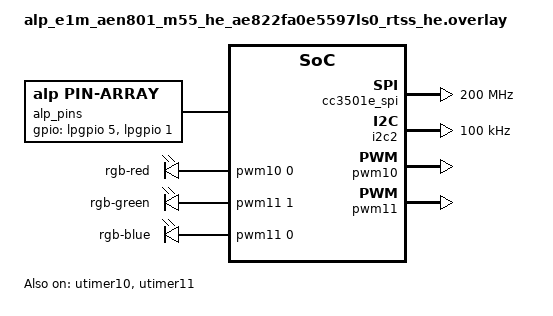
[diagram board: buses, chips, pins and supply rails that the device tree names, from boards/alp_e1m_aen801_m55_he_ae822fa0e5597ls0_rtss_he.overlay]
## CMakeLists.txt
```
# SPDX-License-Identifier: Apache-2.0

cmake_minimum_required(VERSION 3.20)

# SoM facts follow the board being built, not board.yaml's static som.sku
# (#2597): gen_example_alp_conf.py writes generated/<sku>/alp.conf for a twin
# SKU whose fragment differs (e.g. AEN803's populated OSPI memories).
# Two if()s on purpose: CMake expands ${CMAKE_MATCH_1} before it evaluates the
# if(), so in one combined condition EXISTS would test "generated//alp.conf"
# (always there) and every board would be sent to a per-SKU file, written or not.
if(BOARD MATCHES "^alp_e1m_(aen[0-9]+)")
    if(EXISTS "${CMAKE_CURRENT_LIST_DIR}/generated/${CMAKE_MATCH_1}/alp.conf")
        string(REPLACE "generated/alp.conf" "generated/${CMAKE_MATCH_1}/alp.conf"
               EXTRA_CONF_FILE "${EXTRA_CONF_FILE}")
    endif()
endif()

find_package(Zephyr REQUIRED HINTS $ENV{ZEPHYR_BASE})
project(alp_console LANGUAGES C)

target_sources(app PRIVATE src/main.c)

# Reusable SoM bring-up helper (cc3501e_bridge_bringup): the one-call
# CC3501E bridge init.  Copied verbatim from
# examples/aen/aen-cc3501e-bringup/src/ so this example is self-contained.
# When CONFIG_ALP_SDK_CHIP_CC3501E is off (native_sim / V2N) the TU still
# compiles -- it just resolves to the stub cc3501e_bridge_bringup() that
# returns ALP_ERR_NOT_PRESENT_ON_THIS_SOC immediately.
if(CONFIG_ALP_SDK_CHIP_CC3501E)
    target_sources(app PRIVATE src/cc3501e_bridge.c)
endif()
```

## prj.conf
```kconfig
# SPDX-License-Identifier: Apache-2.0
#
# alp-console bench build configuration (both tiers enabled).
#
# CONFIG_ALP_SDK_CONSOLE enables the whole `alp` command tree at link time
# (board / gpio / i2c / adc / pwm / mem / clk / companion / reboot).
# CONFIG_ALP_SDK_CONSOLE_UNSAFE unlocks the write-capable verbs
# (mem wr, gpio write, companion gpio write) -- leave this off in field builds.
# CONFIG_ALP_SDK_HW_INFO + CONFIG_HWINFO are needed by `alp board` to read
# the SoM EEPROM identity at the shell prompt.
# CONFIG_REBOOT is required by `alp reboot`.
#
# Board-derived CONFIG_* (SPI / GPIO / ADC etc.) come from board.yaml via
# `tan build` -> generated/alp.conf layered in via EXTRA_CONF_FILE.
CONFIG_ALP_SDK=y
CONFIG_ALP_SDK_CONSOLE=y
CONFIG_ALP_SDK_CONSOLE_UNSAFE=y
CONFIG_ALP_SDK_HW_INFO=y
CONFIG_SHELL=y
CONFIG_REBOOT=y
CONFIG_HWINFO=y

# Generous main-thread stack for the shell and companion reset sequence.
CONFIG_MAIN_STACK_SIZE=4096
```

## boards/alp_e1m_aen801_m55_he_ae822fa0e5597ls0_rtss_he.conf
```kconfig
# E1M-AEN801 EVK bench/ship build: slot0 MRAM boot.
# The SES boots a resident slot0 image at MRAM base 0x80000000 + 0x10000; the
# app must be slot0-linked (reset vector 0x8001xxxx) for the two-blob flash
# (app -> 0x80010000 + signed ATOC).  Matches the proven aen-rgb-led-fade /
# aen-cc3501e-gpio flash config on this bench.  AEN-only (per-board conf);
# V2N / native_sim builds are unaffected.
CONFIG_FLASH_LOAD_OFFSET=0x10000

# RGB "board alive" status LED: the demo drives the on-module RGB LED via the
# Alif UTIMER PWM (pwm10/pwm11 in the overlay) from a low-priority background
# thread, so the console stays fully responsive.  AEN-only (native_sim has no
# PWM nodes -- the RGB code device-tree-guards itself out there).
CONFIG_PWM=y

# Wire `alp board`'s live SoM identity read to the on-module 24C128 EEPROM:
# portable bus 0 = SoC I2C2 (enabled in the overlay), 7-bit addr 0x50 (default).
# On an EEPROM-provisioned unit the banner shows the live SKU + hw_rev; on a
# blank/unprovisioned unit the read NACKs/!magic and the banner gracefully
# falls back to the compiled board name (best-effort, no hang).
CONFIG_ALP_SDK_HW_INFO_EEPROM_I2C_BUS_ID=0
```

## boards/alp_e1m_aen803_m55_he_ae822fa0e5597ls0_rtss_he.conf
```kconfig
# E1M-AEN803 EVK bench/ship build: slot0 MRAM boot (#2094).
# Same PCB and silicon (AE822FA0E5597LS0) as E1M-AEN801 -- the SKUs only
# differ in their external OSPI0 memory population (E1M-AEN803 fits both
# HyperRAM and NOR, see metadata/e1m_modules/E1M-AEN803.yaml), which none
# of these settings touch, so the E1M-AEN801 .conf carries over unchanged.
# The SES boots a resident slot0 image at MRAM base 0x80000000 + 0x10000; the
# app must be slot0-linked (reset vector 0x8001xxxx) for the two-blob flash
# (app -> 0x80010000 + signed ATOC).  Matches the proven aen-rgb-led-fade /
# aen-cc3501e-gpio flash config on this bench.  AEN-only (per-board conf);
# V2N / native_sim builds are unaffected.
CONFIG_FLASH_LOAD_OFFSET=0x10000

# RGB "board alive" status LED: the demo drives the on-module RGB LED via the
# Alif UTIMER PWM (pwm10/pwm11 in the overlay) from a low-priority background
# thread, so the console stays fully responsive.  AEN-only (native_sim has no
# PWM nodes -- the RGB code device-tree-guards itself out there).
CONFIG_PWM=y

# Wire `alp board`'s live SoM identity read to the on-module 24C128 EEPROM:
# portable bus 0 = SoC I2C2 (enabled in the overlay), 7-bit addr 0x50 (default).
# On an EEPROM-provisioned unit the banner shows the live SKU + hw_rev; on a
# blank/unprovisioned unit the read NACKs/!magic and the banner gracefully
# falls back to the compiled board name (best-effort, no hang).
CONFIG_ALP_SDK_HW_INFO_EEPROM_I2C_BUS_ID=0
```

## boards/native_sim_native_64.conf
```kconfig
# SPDX-License-Identifier: Apache-2.0
#
# native_sim console overlay: read-only shell build.
# No real hardware -- the CC3501E companion and the reboot command are off.
# Auto-loaded by Zephyr when building for native_sim/native/64.

# Read-only console (no hardware to write on the host).
CONFIG_ALP_SDK_CONSOLE=y
CONFIG_ALP_SDK_CONSOLE_UNSAFE=n

# No real REBOOT on native_sim.
CONFIG_REBOOT=n

# Emulated peripheral drivers so the `alp gpio` and `alp i2c` commands
# enumerate at least one bus (build-time proof, no silicon needed).
CONFIG_EMUL=y
CONFIG_GPIO_EMUL=y
CONFIG_I2C_EMUL=y

# HWINFO not meaningful on the host; disable to avoid the build error.
CONFIG_HWINFO=n
CONFIG_ALP_SDK_HW_INFO=n
```

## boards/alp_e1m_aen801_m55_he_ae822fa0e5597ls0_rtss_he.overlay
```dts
/*
 * Copyright (c) 2026 Alp Lab AB
 * SPDX-License-Identifier: Apache-2.0
 *
 * E1M-AEN801 EVK overlay for alp-console.  Two jobs:
 *
 * 1. CC3501E inter-chip bridge wiring (so `alp companion ver/ping` reaches the
 *    on-module CC3501E) -- the SoM-internal Alif<->CC3501E SPI1 link + the two
 *    host-driven control nets, from metadata/e1m_modules/aen/inter-chip.tsv.
 *    This is the SAME proven wiring as examples/aen/aen-cc3501e-bringup; the
 *    console copies cc3501e_bridge.{c,h} from there, so it needs the matching
 *    overlay too (cc3501e_bridge_bringup opens bus_id 1 = &cc3501e_spi):
 *      SPI1.SCK P14_6  MOSI P14_5  MISO P14_4   WIFI_EN P15_5  NRST P15_1_FLEX
 *
 * 2. Master I2C bus (so `alp i2c scan 0` has a live bus): portable bus 0 ->
 *    SoC I2C2 (i2c_dw master, P5_6 SCL_C / P5_7 SDA_C), the on-module 24C128
 *    EEPROM (0x50) + EVK sensor bank.  Pad config bench-validated in
 *    aen-eeprom-manifest (input-enable for ACK-detect; bias-pull-down = the
 *    pad DSC value Alif's reference uses -- do NOT "correct" to pull-up).
 */
#include <zephyr/dt-bindings/pinctrl/alif-ensemble-pinctrl.h>
#include <zephyr/dt-bindings/i2c/i2c.h>
#include <zephyr/dt-bindings/gpio/gpio.h>
#include <zephyr/dt-bindings/pwm/pwm.h>

&pinctrl {
	/* SPI1 master (CC3501E bridge): SCK P14_6 / MOSI P14_5 / MISO P14_4 (alt-2, _C). */
	pinctrl_spi1: pinctrl_spi1 {
		group0 {
			/* SS0 (P14_7) is now peripheral-driven -- the dwc-ssi hardware chip-select,
			 * NOT the old GPIO bodge.  Push-pull output pad like SCLK/MOSI (no input-enable);
			 * the master asserts/deasserts SS0 per transfer (write_ser). */
			pinmux = <PIN_P14_6__SPI1_SCLK_C>, <PIN_P14_5__SPI1_MOSI_C>,
				 <PIN_P14_7__SPI1_SS0_C>;
		};
		group1 {
			pinmux = <PIN_P14_4__SPI1_MISO_C>;
			input-enable;
		};
	};

	/* I2C2 master: SCL P5_6 / SDA P5_7 (_C). */
	pinctrl_i2c2: pinctrl_i2c2 {
		group0 {
			pinmux = <PIN_P5_6__I2C2_SCL_C>, <PIN_P5_7__I2C2_SDA_C>;
			input-enable;
			bias-pull-down;
		};
	};

	/* RGB-LED PWM outputs (from aen-rgb-led-fade): P2_4 = UT10_T0_A
	 * (physically GREEN, bench-measured 2026-07-28 -- the `led_r`/RED
	 * label below is misnamed, see the rgb_leds node + src/main.c);
	 * P12_7 = UT11_T1_C (physically RED); P12_6 = UT11_T0_C (BLUE,
	 * correct).  Output pads -- no input-enable/bias.  Distinct from
	 * the SPI1/I2C2 pads above (no conflict). */
	pinctrl_pwm10: pinctrl_pwm10 {
		group0 {
			pinmux = <PIN_P2_4__UT10_T0_A>; /* physically GREEN */
		};
	};
	pinctrl_pwm11: pinctrl_pwm11 {
		group0 {
			pinmux = <PIN_P12_7__UT11_T1_C>, /* physically RED */
				 <PIN_P12_6__UT11_T0_C>; /* BLUE (correct) */
		};
	};
};

/* P14_7 (CS) is now muxed as SPI1_SS0_C in pinctrl_spi1 -- the dwc-ssi peripheral drives
 * it in hardware per transfer.  The old gpio14 GPIO-bodge controller node is removed: a
 * GPIO claim of P14_7 would fight the SS0 pinctrl mux. */

&clockctrl {
	status = "okay";
};

&soc {
	/* DWC_ssi SPI1 -- the on-SoM CC3501E inter-chip link (NOT the edge SPI0).
	 * 4-wire: SCLK/MOSI/MISO + the hardware SS0 chip-select (P14_7 = SPI1_SS0_C,
	 * declared in pinctrl_spi1 above); clock-frequency = 200 MHz, the real SSI
	 * functional clock (E8 HWRM), so spi_dw_alif skips the failing
	 * clock-control path. */
	cc3501e_spi: spi@48104000 {
		compatible = "alif,dwc-ssi-spi";
		#address-cells = <1>;
		#size-cells = <0>;
		reg = <0x48104000 0x1000>;
		interrupts = <138 3>;          /* BENCH-TBD: SPI1 IRQ */
		clocks = <&clockctrl ALIF_SPI_CLK>;
		/* Real SSI functional clock (E8 HWRM).  Was mis-set to 400000000 here,
		 * which is not a cosmetic error: spi_dw derives BAUDR =
		 * clock-frequency / freq_hz, so a doubled input clock doubles the
		 * divider and HALVES the real SCLK -- this node was running at
		 * 500 kHz while asking for 1 MHz.  Proven via BAUDR scaling and
		 * already corrected in the aen-cc3501e-* overlays. */
		clock-frequency = <200000000>;
		dwc-ssi;
		fifo-depth = <16>;
		/* `rx-delay` IS a real devicetree property
		 * (zephyr/dts/bindings/spi/alif,dwc-ssi-spi.yaml, int, default 0),
		 * left unset here so it resolves to 0. This app's own
		 * src/cc3501e_bridge.c writes no RX_SAMPLE_DLY poke at all -- unlike
		 * the aen-cc3501e-* overlays, which run the link faster and need one
		 * (see their own rx-delay comment) -- because this console runs the
		 * bridge at CC3501E_BRIDGE_SPI_FREQ_HZ = 1 MHz
		 * (cc3501e_bridge.h), the bench-validated rate at which the default
		 * 0-cycle RX sample point already works. */
		pinctrl-0 = <&pinctrl_spi1>;
		pinctrl-names = "default";
		status = "okay";
	};
};

/* LP GPIO island: WIFI_EN (P15_5) + E_WIFI.NRST (P15_1_FLEX) as outputs. */
&lpgpio {
	status = "okay";
};

&i2c2 {
	status = "okay";
	pinctrl-0 = <&pinctrl_i2c2>;
	pinctrl-names = "default";
	clock-frequency = <I2C_BITRATE_STANDARD>;   /* 100 kHz */
};

/ {
	aliases {
		alp-spi1 = &cc3501e_spi;   /* bus_id 1 in cc3501e_bridge_bringup() */
		alp-i2c0 = &i2c2;          /* bus 0 for `alp i2c scan 0` */
	};

	/* SoM-internal CC3501E control nets, in CC3501E_PIN_* index order. */
	alp_pins: alp-pins {
		compatible = "alp,pin-array";
		gpios = <&lpgpio 5 GPIO_ACTIVE_HIGH>,   /* [0] WIFI_EN     (P15_5)      */
			<&lpgpio 1 GPIO_ACTIVE_HIGH>;   /* [1] E_WIFI.NRST (P15_1_FLEX) */
	};


	/* RGB "board alive" status LED.  Each pwm-leds child's `pwms` phandle is
	 * what PWM_DT_SPEC_GET dereferences to reach the pwm10/pwm11 controller +
	 * channel (never DEVICE_DT_GET on the controller node -- avoids the
	 * "alif,pwm" #pwm-cells codegen phantom; see aen-rgb-led-fade).
	 *
	 * NODE LABELS ARE MISNAMED relative to physical colour (bench-measured
	 * 2026-07-28): `led_red` drives P2_4/PWM3, which is physically GREEN;
	 * `led_green` drives P12_7/PWM0, which is physically RED.  Left as-is --
	 * src/main.c's rgb_status_thread drives all three in a continuous
	 * phase-shifted rainbow with no per-colour meaning, so the swap is
	 * invisible; see the NOTE in src/main.c before renaming these. */
	rgb_leds: pwm-leds {
		compatible = "pwm-leds";

		led_red: led_r {
			label = "rgb-red";
			pwms  = <&pwm10 0 PWM_USEC(100) PWM_POLARITY_NORMAL>;
		};
		led_green: led_g {
			label = "rgb-green";
			pwms  = <&pwm11 1 PWM_USEC(100) PWM_POLARITY_NORMAL>;
		};
		led_blue: led_b {
			label = "rgb-blue";
			pwms  = <&pwm11 0 PWM_USEC(100) PWM_POLARITY_NORMAL>;
		};
	};
};

&utimer10 {
	status = "okay";
	pwm10 {
		status = "okay";
		pinctrl-0 = <&pinctrl_pwm10>;
		pinctrl-names = "default";
	};
};

&utimer11 {
	status = "okay";
	pwm11 {
		status = "okay";
		pinctrl-0 = <&pinctrl_pwm11>;
		pinctrl-names = "default";
	};
};
```

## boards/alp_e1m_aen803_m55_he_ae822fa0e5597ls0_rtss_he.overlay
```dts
/*
 * Copyright (c) 2026 Alp Lab AB
 * SPDX-License-Identifier: Apache-2.0
 *
 * E1M-AEN803 EVK overlay for alp-console (#2235).  E1M-AEN803 is the
 * same PCB and silicon (AE822FA0E5597LS0) as E1M-AEN801 -- the SKUs
 * only differ in their external OSPI0 memory population (E1M-AEN803
 * fits both HyperRAM and NOR, see metadata/e1m_modules/E1M-AEN803.yaml).
 * None of this demo's pads sit on that OSPI0 bus (P2_0, P2_1, P6_2..
 * P6_6, P0_7, P12_0..P12_4, P15_2, P15_3, P15_6, P15_7): the CC3501E
 * bridge uses P14_4/P14_5/P14_6/P14_7 (SPI1) plus P15_5/P15_1 (lpgpio
 * WIFI_EN/NRST), the master I2C bus uses P5_6/P5_7, and the RGB status
 * LED uses P2_4/P12_7/P12_6 -- so the E1M-AEN801 body below carries
 * over unchanged. Two jobs, same as the E1M-AEN801 overlay:
 *
 * 1. CC3501E inter-chip bridge wiring (so `alp companion ver/ping` reaches the
 *    on-module CC3501E) -- the SoM-internal Alif<->CC3501E SPI1 link + the two
 *    host-driven control nets, from metadata/e1m_modules/aen/inter-chip.tsv.
 *    This is the SAME proven wiring as examples/aen/aen-cc3501e-bringup; the
 *    console copies cc3501e_bridge.{c,h} from there, so it needs the matching
 *    overlay too (cc3501e_bridge_bringup opens bus_id 1 = &cc3501e_spi):
 *      SPI1.SCK P14_6  MOSI P14_5  MISO P14_4   WIFI_EN P15_5  NRST P15_1_FLEX
 *
 * 2. Master I2C bus (so `alp i2c scan 0` has a live bus): portable bus 0 ->
 *    SoC I2C2 (i2c_dw master, P5_6 SCL_C / P5_7 SDA_C), the on-module 24C128
 *    EEPROM (0x50) + EVK sensor bank.  Pad config bench-validated in
 *    aen-eeprom-manifest (input-enable for ACK-detect; bias-pull-down = the
 *    pad DSC value Alif's reference uses -- do NOT "correct" to pull-up).
 *
 * See the E1M-AEN801 overlay in this same directory for anything not
 * restated above.
 */
#include <zephyr/dt-bindings/pinctrl/alif-ensemble-pinctrl.h>
#include <zephyr/dt-bindings/i2c/i2c.h>
#include <zephyr/dt-bindings/gpio/gpio.h>
#include <zephyr/dt-bindings/pwm/pwm.h>

&pinctrl {
	/* SPI1 master (CC3501E bridge): SCK P14_6 / MOSI P14_5 / MISO P14_4 (alt-2, _C). */
	pinctrl_spi1: pinctrl_spi1 {
		group0 {
			/* SS0 (P14_7) is now peripheral-driven -- the dwc-ssi hardware chip-select,
			 * NOT the old GPIO bodge.  Push-pull output pad like SCLK/MOSI (no input-enable);
			 * the master asserts/deasserts SS0 per transfer (write_ser). */
			pinmux = <PIN_P14_6__SPI1_SCLK_C>, <PIN_P14_5__SPI1_MOSI_C>,
				 <PIN_P14_7__SPI1_SS0_C>;
		};
		group1 {
			pinmux = <PIN_P14_4__SPI1_MISO_C>;
			input-enable;
		};
	};

	/* I2C2 master: SCL P5_6 / SDA P5_7 (_C). */
	pinctrl_i2c2: pinctrl_i2c2 {
		group0 {
			pinmux = <PIN_P5_6__I2C2_SCL_C>, <PIN_P5_7__I2C2_SDA_C>;
			input-enable;
			bias-pull-down;
		};
	};

	/* RGB-LED PWM outputs (from aen-rgb-led-fade): P2_4 = UT10_T0_A
	 * (physically GREEN, bench-measured 2026-07-28 -- the `led_r`/RED
	 * label below is misnamed, see the rgb_leds node + src/main.c);
	 * P12_7 = UT11_T1_C (physically RED); P12_6 = UT11_T0_C (BLUE,
	 * correct).  Output pads -- no input-enable/bias.  Distinct from
	 * the SPI1/I2C2 pads above (no conflict). */
	pinctrl_pwm10: pinctrl_pwm10 {
		group0 {
			pinmux = <PIN_P2_4__UT10_T0_A>; /* physically GREEN */
		};
	};
	pinctrl_pwm11: pinctrl_pwm11 {
		group0 {
			pinmux = <PIN_P12_7__UT11_T1_C>, /* physically RED */
				 <PIN_P12_6__UT11_T0_C>; /* BLUE (correct) */
		};
	};
};

/* P14_7 (CS) is now muxed as SPI1_SS0_C in pinctrl_spi1 -- the dwc-ssi peripheral drives
 * it in hardware per transfer.  The old gpio14 GPIO-bodge controller node is removed: a
 * GPIO claim of P14_7 would fight the SS0 pinctrl mux. */

&clockctrl {
	status = "okay";
};

&soc {
	/* DWC_ssi SPI1 -- the on-SoM CC3501E inter-chip link (NOT the edge SPI0).
	 * 4-wire: SCLK/MOSI/MISO + the hardware SS0 chip-select (P14_7 = SPI1_SS0_C,
	 * declared in pinctrl_spi1 above); clock-frequency = SYST_HCLK (400 MHz) so
	 * spi_dw_alif skips the failing clock-control path. */
	cc3501e_spi: spi@48104000 {
		compatible = "alif,dwc-ssi-spi";
		#address-cells = <1>;
		#size-cells = <0>;
		reg = <0x48104000 0x1000>;
		interrupts = <138 3>;          /* BENCH-TBD: SPI1 IRQ */
		clocks = <&clockctrl ALIF_SPI_CLK>;
		/* Real SSI functional clock (E8 HWRM).  Was mis-set to 400000000 here,
		 * which is not a cosmetic error: spi_dw derives BAUDR =
		 * clock-frequency / freq_hz, so a doubled input clock doubles the
		 * divider and HALVES the real SCLK -- this node was running at
		 * 500 kHz while asking for 1 MHz.  Proven via BAUDR scaling and
		 * already corrected in the aen-cc3501e-* overlays. */
		clock-frequency = <200000000>;
		dwc-ssi;
		fifo-depth = <16>;
		/* NOTE: there is NO `rx-delay` devicetree property -- the spi_dw binding
		 * does not define one, so writing it here would silently do nothing.  The
		 * DWC_ssi RX sample delay (RX_SAMPLE_DLY, reg 0xF0, in ssi_clk cycles at
		 * 200 MHz = 5 ns/cycle) recenters the master's MISO capture at higher SCLK
		 * and is written from C -- see CC3501E_BRIDGE_RX_SAMPLE_DLY in
		 * examples/aen/aen-cc3501e-bringup/src/cc3501e_bridge.c, where 6 is
		 * silicon-tuned for ~14.3 MHz. */
		pinctrl-0 = <&pinctrl_spi1>;
		pinctrl-names = "default";
		status = "okay";
	};
};

/* LP GPIO island: WIFI_EN (P15_5) + E_WIFI.NRST (P15_1_FLEX) as outputs. */
&lpgpio {
	status = "okay";
};

&i2c2 {
	status = "okay";
	pinctrl-0 = <&pinctrl_i2c2>;
	pinctrl-names = "default";
	clock-frequency = <I2C_BITRATE_STANDARD>;   /* 100 kHz */
};

/ {
	aliases {
		alp-spi1 = &cc3501e_spi;   /* bus_id 1 in cc3501e_bridge_bringup() */
		alp-i2c0 = &i2c2;          /* bus 0 for `alp i2c scan 0` */
	};

	/* SoM-internal CC3501E control nets, in CC3501E_PIN_* index order. */
	alp_pins: alp-pins {
		compatible = "alp,pin-array";
		gpios = <&lpgpio 5 GPIO_ACTIVE_HIGH>,   /* [0] WIFI_EN     (P15_5)      */
			<&lpgpio 1 GPIO_ACTIVE_HIGH>;   /* [1] E_WIFI.NRST (P15_1_FLEX) */
	};


	/* RGB "board alive" status LED.  Each pwm-leds child's `pwms` phandle is
	 * what PWM_DT_SPEC_GET dereferences to reach the pwm10/pwm11 controller +
	 * channel (never DEVICE_DT_GET on the controller node -- avoids the
	 * "alif,pwm" #pwm-cells codegen phantom; see aen-rgb-led-fade).
	 *
	 * NODE LABELS ARE MISNAMED relative to physical colour (bench-measured
	 * 2026-07-28): `led_red` drives P2_4/PWM3, which is physically GREEN;
	 * `led_green` drives P12_7/PWM0, which is physically RED.  Left as-is --
	 * src/main.c's rgb_status_thread drives all three in a continuous
	 * phase-shifted rainbow with no per-colour meaning, so the swap is
	 * invisible; see the NOTE in src/main.c before renaming these. */
	rgb_leds: pwm-leds {
		compatible = "pwm-leds";

		led_red: led_r {
			label = "rgb-red";
			pwms  = <&pwm10 0 PWM_USEC(100) PWM_POLARITY_NORMAL>;
		};
		led_green: led_g {
			label = "rgb-green";
			pwms  = <&pwm11 1 PWM_USEC(100) PWM_POLARITY_NORMAL>;
		};
		led_blue: led_b {
			label = "rgb-blue";
			pwms  = <&pwm11 0 PWM_USEC(100) PWM_POLARITY_NORMAL>;
		};
	};
};

&utimer10 {
	status = "okay";
	pwm10 {
		status = "okay";
		pinctrl-0 = <&pinctrl_pwm10>;
		pinctrl-names = "default";
	};
};

&utimer11 {
	status = "okay";
	pwm11 {
		status = "okay";
		pinctrl-0 = <&pinctrl_pwm11>;
		pinctrl-names = "default";
	};
};
```

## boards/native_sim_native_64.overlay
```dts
/*
 * Copyright 2026 Alp Lab AB
 * SPDX-License-Identifier: Apache-2.0
 *
 * native_sim stand-ins for alp-console: the shell UART alias and a
 * minimal GPIO emulator so the `alp gpio` command enumerates something.
 * No CC3501E (companion guard in main.c compiles out CONFIG_ALP_SDK_CHIP_CC3501E).
 */

#include <zephyr/dt-bindings/gpio/gpio.h>

/ {
	aliases {
		/* Shell UART: maps to the native_sim UART emulator. */
		alp-uart0 = &uart0;
	};

	gpio_emul0: gpio_emul0 {
		compatible = "zephyr,gpio-emul";
		status = "okay";
		gpio-controller;
		rising-edge;
		falling-edge;
		#gpio-cells = <2>;
		ngpios = <8>;
	};

	/* Minimal alp,pin-array so the GPIO back-end initialises (no real pins). */
	alp_pins: alp-pins {
		compatible = "alp,pin-array";
		gpios = <&gpio_emul0 0 GPIO_ACTIVE_HIGH>;   /* [0] stub pin */
	};
};
```

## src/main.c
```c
/*
 * Copyright 2026 Alp Lab AB
 * SPDX-License-Identifier: Apache-2.0
 *
 * alp-console -- the E1M-AEN801 "everything" demo: interactive console +
 * CC3501E Wi-Fi/BLE + a live RGB status LED, in one shippable slot0 app.
 *
 * The console itself is SDK infrastructure: enabling CONFIG_ALP_SDK_CONSOLE
 * registers the whole `alp` command tree on the Zephyr shell at link time,
 * so an app gets board / gpio / i2c / adc / pwm / mem / clk / reboot
 * diagnostics for free -- main() does NOT register any commands.  On the
 * AEN801 that tree includes `alp companion wifi scan|connect`,
 * `alp companion ble enable|scan`, and `alp companion sock tcp-get <ip> <port>
 * <path>` (a full TCP client -- open/connect/send/recv/close over the CC3501E IP
 * stack), which reach the on-module CC3501E over the inter-chip bridge bound
 * below.  A background thread breathes the on-board RGB LED so the board is
 * visibly alive while the shell stays fully responsive.
 *
 * Boot sequence:
 *   1. Zephyr shell starts (via CONFIG_SHELL=y in prj.conf).
 *   2. alp_banner.c (linked because CONFIG_ALP_SDK_CONSOLE=y pulls the
 *      banner module) prints the board identity and Alp SDK version.
 *   3. The shell prompt `uart:~$` appears.
 *   4. Type `alp` then Tab to explore all sub-commands.
 *
 * The ONE thing an app does here is bind the companion chip so
 * `alp companion` can reach it.  On V2N that is automatic (the GD32
 * supervisor is a singleton managed inside the SDK).  On Alif there is
 * no companion singleton, so we open the CC3501E and hand the handle to
 * the console.  On boards without a CC3501E (including native_sim) this
 * whole block compiles out via the CONFIG_ALP_SDK_CHIP_CC3501E guard.
 */

#include <zephyr/kernel.h>

/*
 * Companion binding -- Alif (AEN801) path only.
 *
 * cc3501e_bridge_bringup() is the one-call SoM bring-up helper from the
 * aen-cc3501e-bringup example (cc3501e_bridge.{c,h}).  It:
 *   - opens the inter-chip SPI bus (bus_id 1, 1 MHz, hardware SS0)
 *   - opens the WIFI_EN + nRESET Alif LP-GPIO control pins
 *   - binds them to the cc3501e_t handle
 *   - attaches the GPIO proxy (when CONFIG_ALP_SDK_GPIO_CC3501E_PROXY=y)
 *   - resets the chip warm-aware (nRESET only if WIFI_EN is high and PING
 *     answers, else the TI SWRU626 power sequence, ~900 ms) and returns an
 *     error if the chip never answers
 *
 * After a successful bring-up, alp_console_companion_set() hands the
 * handle to the console so `alp companion ver` / `alp companion ping`
 * can reach the CC3501E without the app having to do anything further.
 *
 * The cc3501e_t handle MUST outlive the console (program lifetime), so
 * it is declared static at file scope.
 */
#if defined(CONFIG_ALP_SDK_CHIP_CC3501E)
#include <alp/console.h>
#include <alp/ext/cc3501e/console.h>
#include <alp/chips/cc3501e.h>

/*
 * cc3501e_bridge_bringup() -- the one-call SoM bring-up template copied
 * from examples/aen/aen-cc3501e-bringup/src/cc3501e_bridge.{c,h}.
 * That file is the authoritative pattern for opening the inter-chip SPI
 * bridge; the alp-console example ships its own copy here so it is
 * self-contained and does not depend on the bringup example's src/.
 */
#include "cc3501e_bridge.h"

/* Static storage: the console borrows this handle for the program's life. */
static cc3501e_t companion_ctx;

/*
 * bind_companion() -- best-effort.  If the CC3501E is absent or the SPI
 * bus is not in the overlay the bring-up returns an error and we leave
 * companion_cc3501e NULL.  `alp companion` then reports "not registered"
 * instead of crashing -- the console stays fully usable for every other
 * sub-command (board / gpio / i2c / adc / pwm / mem / clk).
 */
static void bind_companion(void)
{
	/*
	 * cc3501e_bridge_bringup() is silicon-validated on the E1M-AEN801
	 * (see the aen-cc3501e-bringup bench log).  It opens the inter-chip
	 * SPI (hardware-SS0, mode 0, 1 MHz) + the WIFI_EN / nRESET LP-GPIO
	 * pads, then resets the chip warm-aware: nRESET only when WIFI_EN
	 * is already high and the chip answers a PING, the Puya cold-boot
	 * + TI SWRU626 power sequence only from WIFI_EN low or a silent
	 * chip.  A chip that never answers returns an error.  The bus_id, pin indices, and SPI frequency are
	 * the E1M-AEN SoM defaults from cc3501e_bridge.h -- override them
	 * per board variant without touching this file.
	 */
	alp_status_t s = cc3501e_bridge_bringup(&companion_ctx);

	if (s == ALP_OK) {
		/* Hand the ready handle to the console once; it borrows it
		 * for the program's life.  The companion_ctx storage above
		 * must NOT go out of scope (file-static, so it never does). */
		alp_console_companion_set(&companion_ctx);
	}
	/* On any error the companion simply reports "not registered" in
	 * `alp companion ver` -- no panic, no printk noise (the shell
	 * prompt follows immediately after main() returns). */
}
#else  /* !CONFIG_ALP_SDK_CHIP_CC3501E */

/*
 * No companion on this target (V2N singleton auto-bound inside the SDK;
 * native_sim has no companion at all).  bind_companion() is a no-op so
 * main() is identical across all targets.
 */
static void bind_companion(void)
{
}
#endif /* CONFIG_ALP_SDK_CHIP_CC3501E */

/* ---- RGB "board alive" status LED (E1M-AEN801 EVK) ---------------------- */
/*
 * A low-priority background thread breathes the on-module RGB LED through a
 * rainbow so the demo is visibly alive while the `alp` shell stays fully
 * responsive on the console.  Wiring + the breathe maths are lifted from the
 * aen-rgb-led-fade example -- the board overlay's pwm-leds children
 * (led_red = PWM3/P2_4, led_green = PWM0/P12_7, led_blue = PWM1/P12_6).
 *
 * NOTE: those DT node LABELS are misnamed relative to the physically
 * bench-measured colour (2026-07-28, see metadata/boards/e1m-evk.yaml):
 * PWM3/P2_4 is physically GREEN and PWM0/P12_7 is physically RED, so
 * `led_red` actually drives the green pad and `led_green` the red one.
 * Left unrenamed here on purpose -- this thread drives all three
 * channels simultaneously in a continuous phase-shifted rainbow with no
 * per-colour semantic (see rgb_status_thread below), so the label swap
 * has no visible effect and a DT node rename is out of scope for this
 * fix; fix `led_red`/`led_green` in the board overlay + here together if
 * this ever needs to report an actual colour.  Device-tree-guarded: on a
 * board without the led_red pwm-leds child (native_sim, V2N) the whole
 * block compiles out and no thread is spawned.
 */
#if DT_NODE_HAS_STATUS(DT_NODELABEL(led_red), okay)
#include <zephyr/drivers/pwm.h>

#define RGB_PERIOD_CYCLES 1000u

/* 8-bit phase -> 0..255 triangle, smoothed by an integer smoothstep (also a
 * perceptual gamma) so the breathe looks linear to the eye.  No float / libm. */
static uint32_t rgb_breathe(uint32_t phase)
{
	uint32_t p = phase & 0xFFu;
	uint32_t t = (p < 128u) ? (p * 2u) : ((255u - p) * 2u);
	return (uint32_t)(((uint64_t)t * t * (765u - 2u * t)) / 65025u);
}

/* pulse = period * brightness / 255, clamped to >= 1 cycle (a 0 pulse takes the
 * driver's full-off path, which perturbs the shared timer -> visible flicker). */
static void rgb_set(const struct pwm_dt_spec *ch, uint32_t b8)
{
	uint32_t pulse = (RGB_PERIOD_CYCLES * b8) / 255u;

	if (pulse == 0u) {
		pulse = 1u;
	}
	(void)pwm_set_cycles(ch->dev, ch->channel, RGB_PERIOD_CYCLES, pulse, ch->flags);
}

static void rgb_status_thread(void *a, void *b, void *c)
{
	ARG_UNUSED(a);
	ARG_UNUSED(b);
	ARG_UNUSED(c);
	const struct pwm_dt_spec red   = PWM_DT_SPEC_GET(DT_NODELABEL(led_red));
	const struct pwm_dt_spec green = PWM_DT_SPEC_GET(DT_NODELABEL(led_green));
	const struct pwm_dt_spec blue  = PWM_DT_SPEC_GET(DT_NODELABEL(led_blue));

	if (!pwm_is_ready_dt(&red) || !pwm_is_ready_dt(&green) || !pwm_is_ready_dt(&blue)) {
		return; /* controllers not ready -- leave the LED dark, console unaffected */
	}

	uint32_t phase = 0u;

	for (;;) {
		rgb_set(&red, rgb_breathe(phase));         /*   0 deg */
		rgb_set(&green, rgb_breathe(phase + 85u)); /* +120 deg around the wheel */
		rgb_set(&blue, rgb_breathe(phase + 170u)); /* +240 deg */
		phase = (phase + 1u) & 0xFFu;
		k_msleep(15);
	}
}

/* Spawn at boot (priority 7 -- below the shell + main).  The shell + companion
 * bring-up run independently; the LED just breathes in the background. */
K_THREAD_DEFINE(rgb_status_tid, 1024, rgb_status_thread, NULL, NULL, NULL, 7, 0, 0);
#endif /* led_red okay */

int main(void)
{
	/*
	 * The boot banner (src/zephyr/alp_banner.c, auto-linked when
	 * CONFIG_ALP_SDK_CONSOLE=y) has already printed at this point.
	 *
	 * bind_companion() is a no-op on targets without a CC3501E and
	 * takes ~900 ms on the AEN801 (CC3501E power + reset sequence).
	 * The shell prompt `uart:~$` appears immediately after main()
	 * returns -- type `alp` then Tab to explore.
	 *
	 * Bench tip: CONFIG_ALP_SDK_CONSOLE_UNSAFE=y (prj.conf) unlocks
	 * the write-capable commands (mem wr, gpio write, companion gpio
	 * write).  Leave it off in field builds.
	 */
	bind_companion();
	return 0;
}
```

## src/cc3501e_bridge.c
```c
/*
 * SPDX-License-Identifier: Apache-2.0
 * Copyright 2026 Alp Lab AB
 *
 * E1M-AEN SoM CC3501E bridge bring-up helper -- see cc3501e_bridge.h.
 *
 * The final reset is warm-aware.  cc3501e_reset() drops WIFI_EN for 50 ms, a
 * supply cold cycle; on a CC3501E that is already running (an activated unit with
 * vendor_sbl_container_enable=1 may then never relaunch) that must not happen on a
 * mere re-run or warm reset of the application.  So when WIFI_EN already reads high
 * AND the chip answers a PING the bring-up resets through nRESET only
 * (cc3501e_hard_reset()), and uses cc3501e_reset() only from WIFI_EN low or, as a
 * last resort, from a chip that stays silent through an nRESET-only reset.  WIFI_EN
 * reading high alone is not trusted: a pull-up would make every power-on look warm
 * (whether the module has one is an open question, issue #2797).
 */

#include "cc3501e_bridge.h"

#include <stdio.h>

#if defined(CONFIG_SOC_AE822FA0E5597LS0_RTSS_HE) || defined(CONFIG_SOC_AE822FA0E5597LS0_RTSS_HP)
#include <zephyr/kernel.h>
#include <zephyr/devicetree.h>
#include <zephyr/arch/cpu.h>
#include <zephyr/sys/sys_io.h>
/*
 * AEN LP-pad mux (Alif Ensemble E8, both M55-HE and M55-HP cores).  WIFI_EN
 * (P15_5) and nRESET (P15_1) are on the Alif LP-GPIO island, bound by the
 * generic snps,designware-gpio driver which does NOT apply Alif pinctrl --
 * so the LP pads stay un-muxed and their output drivers OFF (confirmed on
 * silicon on M55-HE: WIFI_EN never powers the CC3501E until these regs are
 * set).  0x23 = the Alif GPIO-output pad config (driver + read-enable +
 * drive strength).  TODO: drop this raw poke once the Alif GPIO backend
 * muxes the LP island via pinctrl.
 *
 * ALIF_LPGPIO_PADCTRL_BASE (0x42007000) is not an M55-HE-local address: the
 * shared upstream `pin-controller@1a603000` node (ensemble_common.dtsi,
 * included by both cores' SoC dtsi) declares this exact window as its
 * second `reg` range, and `alp_e1m_aen801_m55_hp-pinctrl.dtsi` already
 * muxes a different LP-GPIO pad (P15_0, RTC_ALARM) from the M55-HP pinctrl
 * driver through it, so the poke below is equally applicable on M55-HP.
 * Running it on M55-HP is NOT bench-proven -- only running it on M55-HE has
 * been confirmed on silicon.
 */
#define ALIF_LPGPIO_PADCTRL_BASE 0x42007000u
#define ALIF_PAD_GPIO_OUTPUT     0x23u
static void aen_lp_pads_enable_output(void)
{
	sys_write32(ALIF_PAD_GPIO_OUTPUT, ALIF_LPGPIO_PADCTRL_BASE + 5u * 4u); /* P15_5 WIFI_EN */
	sys_write32(ALIF_PAD_GPIO_OUTPUT, ALIF_LPGPIO_PADCTRL_BASE + 1u * 4u); /* P15_1 nRESET  */
}

/* Latch WIFI_EN (P15_5) HIGH in the port's data register while the pad is still an
 * INPUT.  Switching the direction afterwards then drives the already-high level; the
 * other order (direction first, value second -- what gpio_dw's configure does even
 * with an init flag) drives whatever DR holds, and with DR bit 5 = 0 that glitches
 * the supply of a running chip low.  DR is written directly (read-modify-write, the
 * same access gpio_dw's port_set_bits_raw makes) so this template stays on the
 * portable <alp/...> headers: SWPORTA_DR is offset 0x00 of the DesignWare GPIO block
 * (zephyr drivers/gpio/gpio_dw_registers.h), the block base is the `lpgpio` node's
 * reg, and the LP-GPIO clock is already on because alp_gpio_open() opened the pin. */
#define DW_GPIO_SWPORTA_DR 0x00u
static void aen_wifi_en_latch_high(void)
{
	const mem_addr_t dr = DT_REG_ADDR(DT_NODELABEL(lpgpio)) + DW_GPIO_SWPORTA_DR;

	sys_write32(sys_read32(dr) | (1u << 5), dr);
}

/* ---- chip-select wiring --
 * CS = the dwc-ssi HARDWARE SS0 (Alif P14_7 muxed as SPI1_SS0_C in pinctrl_spi1):
 *      the SPI peripheral asserts/deasserts it per transfer (no software GPIO CS,
 *      not CS-less).  The host opens ALP_SPI_NO_CS so the alp_spi backend leaves
 *      cs_present=false and spi_dw takes the hardware SER/SS0 branch.  No CS hooks
 *      needed here: the host driver does not bracket transactions with any
 *      software chip-select.
 *
 * READY (CC35 GPIO17) is NOT wired here: fw->ready_pin stays NULL, same as every
 * other AEN example bridge by default -- see chips/cc3501e/cc3501e_core.c's
 * cc3501e_reply_gate() comment for the pin-routing fact and bench evidence.  On
 * the R2 module this app targets, Alif P2_6 (gpio2.6) is E1M pad AH7 / I2S1_SCLK,
 * a DIFFERENT net from CC35 GPIO17 / E1M pad G3 -- read that comment before
 * assuming P2_6 is never READY on some other revision. */
#else
static inline void aen_lp_pads_enable_output(void)
{
}
static inline void aen_wifi_en_latch_high(void)
{
}
#endif

alp_status_t cc3501e_bridge_bringup(cc3501e_t *fw)
{
	if (fw == NULL) {
		return ALP_ERR_INVAL;
	}

	/* 1. Control pins: WIFI_EN (supply gate) + nRESET.  These are Alif LP-GPIO
	 *    pads, not E1M edge pads -- the SoM owns them. */
	alp_gpio_t *wifi_en = alp_gpio_open(CC3501E_BRIDGE_PIN_WIFI_EN);
	alp_gpio_t *nrst    = alp_gpio_open(CC3501E_BRIDGE_PIN_NRST);
	if (wifi_en == NULL || nrst == NULL) {
		if (wifi_en != NULL) {
			alp_gpio_close(wifi_en);
		}
		if (nrst != NULL) {
			alp_gpio_close(nrst);
		}
		return ALP_ERR_NOT_PRESENT_ON_THIS_SOC;
	}
	aen_lp_pads_enable_output();
	/* Sample the supply gate BEFORE touching its direction.  High is only a HINT
	 * that the chip may be powered -- an external pull-up on WIFI_EN would make every
	 * power-on read high (whether the module has one is an OPEN QUESTION; the
	 * netlist has not been checked), so the decision below also needs a PING. */
	bool wifi_was_high = false;
	/* A failed read leaves the level unknown: never take the supply-cycling cold path
	 * on that alone -- go through the PING path below, which still ends in
	 * cc3501e_reset() if the chip turns out to be silent. */
	const bool wifi_unknown = alp_gpio_read(wifi_en, &wifi_was_high) != ALP_OK;
	if (wifi_was_high) {
		/* Latch the level in DR first so the direction change cannot glitch it low. */
		aen_wifi_en_latch_high();
	}
	(void)alp_gpio_configure(wifi_en, ALP_GPIO_OUTPUT, ALP_GPIO_PULL_NONE);
	(void)alp_gpio_configure(nrst, ALP_GPIO_OUTPUT, ALP_GPIO_PULL_NONE);

	/* 2. Inter-chip SPI (Alif = master).  cs_pin_id = ALP_SPI_NO_CS so the alp_spi
	 *    backend leaves cs_present=false and spi_dw drives the dwc-ssi HARDWARE SS0
	 *    (P14_7 = SPI1_SS0_C from pinctrl) per transfer -- a peripheral-driven chip-
	 *    select, NOT a software GPIO CS and NOT CS-less.  Mode 0 matches the CC3501E
	 *    vendor image frameFormat. */
	alp_spi_t *spi = alp_spi_open(&(alp_spi_config_t){
	    .bus_id        = CC3501E_BRIDGE_SPI_BUS_ID,
	    .freq_hz       = CC3501E_BRIDGE_SPI_FREQ_HZ,
	    .mode          = ALP_SPI_MODE_0,
	    .bits_per_word = 8u,
	    .cs_pin_id     = ALP_SPI_NO_CS,
	});
	if (spi == NULL) {
		alp_gpio_close(wifi_en);
		alp_gpio_close(nrst);
		return ALP_ERR_NOT_PRESENT_ON_THIS_SOC;
	}

	/* 3. Bind the bus + control pins; attach the GPIO proxy (proxied E1M IOs then
	 *    route over the bridge); run the warm-aware power + reset sequence: a cold
	 *    start (WIFI_EN low) runs the full TI SWRU626 + Puya cold-boot sequence; a
	 *    warm chip (WIFI_EN high and answering PING) gets an nRESET pulse only, and
	 *    the supply is cycled only for a high-but-silent chip.  Leaves WIFI_EN HIGH
	 *    on success; returns an error when the chip stays silent. */
	(void)cc3501e_init(fw, spi);
	fw->enable_pin = wifi_en;
	fw->reset_pin  = nrst;
#ifdef CONFIG_ALP_SDK_GPIO_CC3501E_PROXY
	(void)alp_gpio_cc3501e_attach(fw);
#endif
#ifdef CONFIG_ALP_SDK_WIFI_CC3501E
	(void)alp_wifi_cc3501e_attach(fw);
#endif
#ifdef CONFIG_ALP_SDK_BLE_CC3501E
	(void)alp_ble_cc3501e_attach(fw);
#endif
	/* One line naming the path taken, so a log shows whether the supply was cycled. */
	if (!wifi_was_high && !wifi_unknown) {
		printf("[cc3501e_bridge] WIFI_EN low: cold power-up (cc3501e_reset)\n");
		return cc3501e_reset(fw); /* supply low: the full cold-boot sequence */
	}
	/* WIFI_EN reads high.  Warm = the chip ANSWERS a PING; a pull-up alone proves
	 * nothing.  Warm: nRESET only, never a WIFI_EN toggle. */
	if (cc3501e_ping(fw) == ALP_OK) {
		printf("[cc3501e_bridge] WIFI_EN high, PING ok: warm, nRESET only\n");
		return cc3501e_hard_reset(fw);
	}
	/* High but silent: powered-and-hung, or unpowered behind a pull-up.  Try the
	 * nRESET-only reset first (safe for a powered chip); only if the chip still does
	 * not answer is the supply cycled -- the last resort, taken from a chip that is
	 * already unresponsive. */
	if (cc3501e_hard_reset(fw) == ALP_OK && cc3501e_ping(fw) == ALP_OK) {
		printf("[cc3501e_bridge] WIFI_EN high, silent: recovered by nRESET only\n");
		return ALP_OK;
	}
	printf("[cc3501e_bridge] WIFI_EN high, silent after nRESET: supply cycle (cc3501e_reset)\n");
	return cc3501e_reset(fw);
}
```

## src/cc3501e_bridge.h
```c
/*
 * SPDX-License-Identifier: Apache-2.0
 * Copyright 2026 Alp Lab AB
 *
 * One-call bring-up of the E1M-AEN SoM's CC3501E Wi-Fi 6 / BLE coprocessor over the
 * inter-chip SPI bridge -- the SoM bring-up TEMPLATE for applications.
 *
 * The CC3501E is part of the SoM (module U4 = BDE-BW35N): the application does NOT
 * touch the raw SPI bus or the WIFI_EN / nRESET control pins.  It calls
 * cc3501e_bridge_bringup() once, gets a ready @ref cc3501e_t, and from there uses the
 * portable surfaces:
 *   - cc3501e_* (chips/cc3501e)            -- MAC / Wi-Fi / BLE / GPIO-proxy / OTA
 *   - alp_gpio_open(E1M_GPIO_IOxx)         -- proxied E1M IOs (when the proxy is built)
 *
 * To reuse in your own AEN application: copy this pair (cc3501e_bridge.{c,h}) into your
 * app, or call cc3501e_bridge_bringup() directly.  The bus / pins / clock are the
 * E1M-AEN SoM defaults below; a board variant overrides only those macros -- the SoM
 * stays swappable without touching application code.
 */

#ifndef CC3501E_BRIDGE_H
#define CC3501E_BRIDGE_H

#include <alp/peripheral.h>    /* alp_status_t */
#include <alp/chips/cc3501e.h> /* cc3501e_t */

/* ---- E1M-AEN SoM bridge defaults (override per board variant) ---------------- */

/* Inter-chip SPI: Alif = master, CC3501E = slave.  P14_7 is muxed as the
 * dwc-ssi hardware SS0 chip-select; ALP_SPI_NO_CS means "no software GPIO CS"
 * here, so the controller frames each protocol phase.  Mode 0 matches the
 * CC3501E vendor image frameFormat. */
#ifndef CC3501E_BRIDGE_SPI_BUS_ID
#define CC3501E_BRIDGE_SPI_BUS_ID 1u
#endif
#ifndef CC3501E_BRIDGE_SPI_FREQ_HZ
/* 8 MHz: first bench-sweep step up from the 1 MHz cold-boot floor toward the
 * CC3501E's 15 MHz ceiling.  At >1 MHz the dwc-ssi master samples the incoming
 * MISO bit too early over the on-SoM traces (the earlier bare 8 MHz attempt
 * mis-sampled -> cold first-contact failed); this now pairs with the dwc-ssi
 * RX sample delay (RX_SAMPLE_DLY reg 0xF0, in ssi_clk cycles).  That delay is
 * written from C regardless of what devicetree says; see
 * CC3501E_BRIDGE_RX_SAMPLE_DLY in
 * examples/aen/aen-cc3501e-bringup/src/cc3501e_bridge.h, and the poke that
 * applies it in the matching cc3501e_bridge.c.
 *
 * This example stays at 1 MHz because it does not perform that write.  The
 * "raise to 15 MHz only after 8 MHz is bench-clean" plan this comment used to
 * describe has already been carried out elsewhere: the aen-cc3501e-* examples
 * run at 25 MHz, cold and warm, concurrently with Wi-Fi/BLE, with the RX
 * sample delay silicon-swept at that rate.  To go faster here, port that write
 * and re-sweep the delay on this example's own clock -- do not just raise the
 * number, because MISO mis-sample shows up as a -5 desync / garbage reply
 * headers on the link.
 * (Payload-request reliability is handled by the inter-phase settle in
 * cc3501e_request -- CC3501E_PHASE_SETTLE_US -- not the clock.) */
#define CC3501E_BRIDGE_SPI_FREQ_HZ \
	1000000u /* 1 MHz: the bench-validated link rate; higher rates are a future throughput sweep */
#endif

/* CC3501E control pins on the Alif LP-GPIO island (NOT E1M edge pads):
 * WIFI_EN = supply gate (P15_5), nRESET = reset (P15_1_FLEX). */
#ifndef CC3501E_BRIDGE_PIN_WIFI_EN
#define CC3501E_BRIDGE_PIN_WIFI_EN 0u
#endif
#ifndef CC3501E_BRIDGE_PIN_NRST
#define CC3501E_BRIDGE_PIN_NRST 1u
#endif

/**
 * @brief Bring up the SoM's CC3501E coprocessor over the inter-chip bridge.
 *
 * Opens the hardware-SS0 bridge SPI + the WIFI_EN / nRESET control pins, binds
 * them to @p fw, attaches the GPIO proxy (when CONFIG_ALP_SDK_GPIO_CC3501E_PROXY is
 * built), and runs the power + reset sequence (TI SWRU626 + the Puya cold-boot
 * hard-reset workaround).  Blocks ~900 ms for the boot budget; leaves WIFI_EN HIGH.
 *
 * @param fw  Caller-owned handle, populated on success.  Use it with cc3501e_*.
 * @return ALP_OK with @p fw ready; ALP_ERR_NOT_PRESENT_ON_THIS_SOC if the SPI bus /
 *         control pins are absent (check the board overlay); otherwise the reset
 *         sequence status.  On any failure @p fw is left un-bound (do not use it).
 */
alp_status_t cc3501e_bridge_bringup(cc3501e_t *fw);

#endif /* CC3501E_BRIDGE_H */
```
